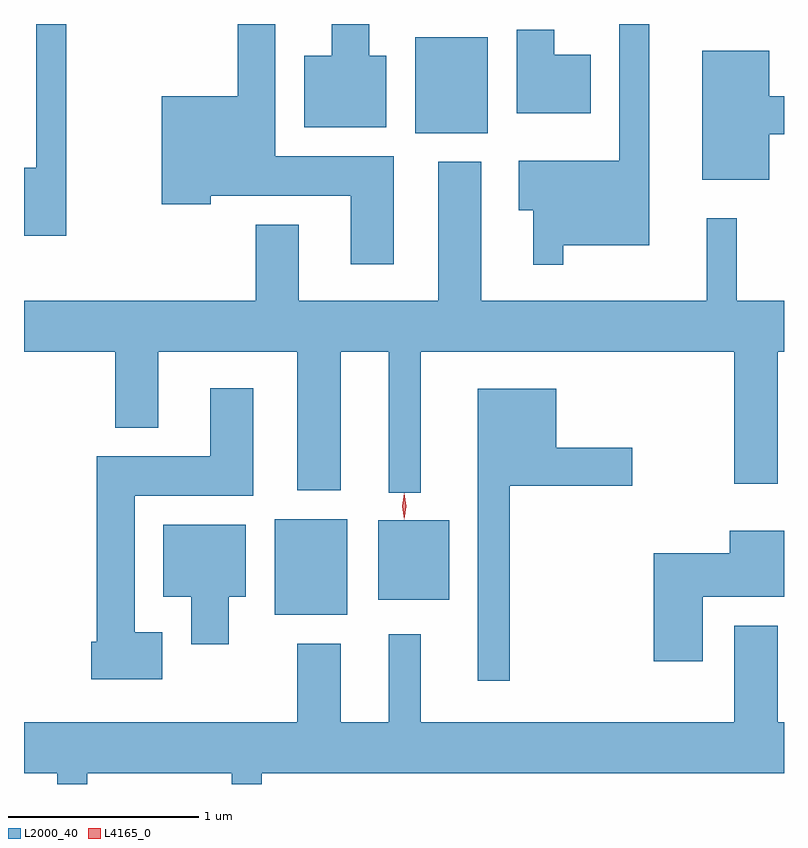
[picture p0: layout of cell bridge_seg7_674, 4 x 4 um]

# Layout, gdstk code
import gdstk
lib = gdstk.Library(unit=1e-6, precision=1e-09)
def R(c, l, rs):  # rectangles x0, y0, x1, y1
    for r in rs: c.add(gdstk.rectangle(r[:2], r[2:], *l))
def P(c, l, *ps):  # polygons
    for p in ps: c.add(gdstk.Polygon(p, *l))
L2000_40 = (2000, 40)
L4165_0 = (4165, 0)

bridge_seg7_674 = lib.new_cell('bridge_seg7_674')
R(bridge_seg7_674, L2000_40, [(963.261,1672.971,963.644,1673.474), (963.806,1673.051,964.179,1673.469), (964.001,1675.506,964.384,1676.009)])
P(bridge_seg7_674, L2000_40, [(963.849,1675.914),(963.759,1675.914),(963.759,1676.08),(963.561,1676.08),(963.561,1675.914),(963.416,1675.914),(963.416,1675.536),(963.849,1675.536)],
  [(963.889,1675.384),(963.264,1675.384),(963.264,1676.08),(963.066,1676.08),(963.066,1675.699),(962.666,1675.699),(962.666,1675.131),(962.924,1675.131),(962.924,1675.176),(963.661,1675.176),(963.661,1674.816),(963.889,1674.816)],
  [(962.164,1676.08),(962.006,1676.08),(962.006,1675.324),(961.942,1675.324),(961.942,1674.966),(962.164,1674.966)],
  [(964.779,1674.916),(965.234,1674.916),(965.234,1676.08),(965.076,1676.08),(965.076,1675.359),(964.546,1675.359),(964.546,1675.101),(964.621,1675.101),(964.621,1674.813),(964.779,1674.813)],
  [(964.924,1675.919),(964.734,1675.919),(964.734,1676.049),(964.536,1676.049),(964.536,1675.611),(964.924,1675.611)],
  [(965.864,1675.501),(965.942,1675.501),(965.942,1675.699),(965.864,1675.699),(965.864,1675.939),(965.511,1675.939),(965.511,1675.261),(965.864,1675.261)],
  [(964.029,1674.356),(965.681,1674.356),(965.681,1673.661),(965.909,1673.661),(965.909,1674.356),(965.942,1674.356),(965.942,1674.624),(965.694,1674.624),(965.694,1675.058),(965.536,1675.058),(965.536,1674.624),(964.349,1674.624),(964.349,1675.354),(964.121,1675.354),(964.121,1674.624),(963.389,1674.624),(963.389,1675.024),(963.161,1675.024),(963.161,1674.624),(961.942,1674.624),(961.942,1674.356),(962.421,1674.356),(962.421,1673.956),(962.649,1673.956),(962.649,1674.356),(963.381,1674.356),(963.381,1673.626),(963.609,1673.626),(963.609,1674.356),(963.861,1674.356),(963.861,1673.613),(964.029,1673.613)],
  [(962.669,1672.879),(962.524,1672.879),(962.524,1673.596),(963.149,1673.596),(963.149,1674.164),(962.921,1674.164),(962.921,1673.804),(962.326,1673.804),(962.326,1672.829),(962.296,1672.829),(962.296,1672.631),(962.669,1672.631)],
  [(964.499,1673.651),(965.144,1673.651),(965.144,1673.849),(964.744,1673.849),(964.744,1674.159),(964.331,1674.159),(964.331,1672.623),(964.499,1672.623)],
  [(963.019,1673.066),(963.109,1673.066),(963.109,1673.444),(962.676,1673.444),(962.676,1673.066),(962.821,1673.066),(962.821,1672.816),(963.019,1672.816)],
  [(965.514,1673.066),(965.942,1673.066),(965.942,1673.414),(965.656,1673.414),(965.656,1673.294),(965.256,1673.294),(965.256,1672.726),(965.514,1672.726)],
  [(962.274,1672.136),(963.036,1672.136),(963.036,1672.08),(963.194,1672.08),(963.194,1672.136),(965.942,1672.136),(965.942,1672.404),(965.909,1672.404),(965.909,1672.914),(965.681,1672.914),(965.681,1672.404),(964.029,1672.404),(964.029,1672.868),(963.861,1672.868),(963.861,1672.404),(963.609,1672.404),(963.609,1672.819),(963.381,1672.819),(963.381,1672.404),(961.942,1672.404),(961.942,1672.136),(962.116,1672.136),(962.116,1672.08),(962.274,1672.08)])
P(bridge_seg7_674, L4165_0, [(963.942,1673.474),(963.933,1673.542),(963.942,1673.61),(963.943,1673.61),(963.943,1673.61),(963.953,1673.542),(963.943,1673.474),(963.943,1673.474)],
  [(963.942,1673.478),(963.933,1673.542),(963.942,1673.607),(963.943,1673.607),(963.943,1673.607),(963.953,1673.542),(963.943,1673.478),(963.943,1673.478)])

lib.write_gds('bridge_seg7_674.gds')
